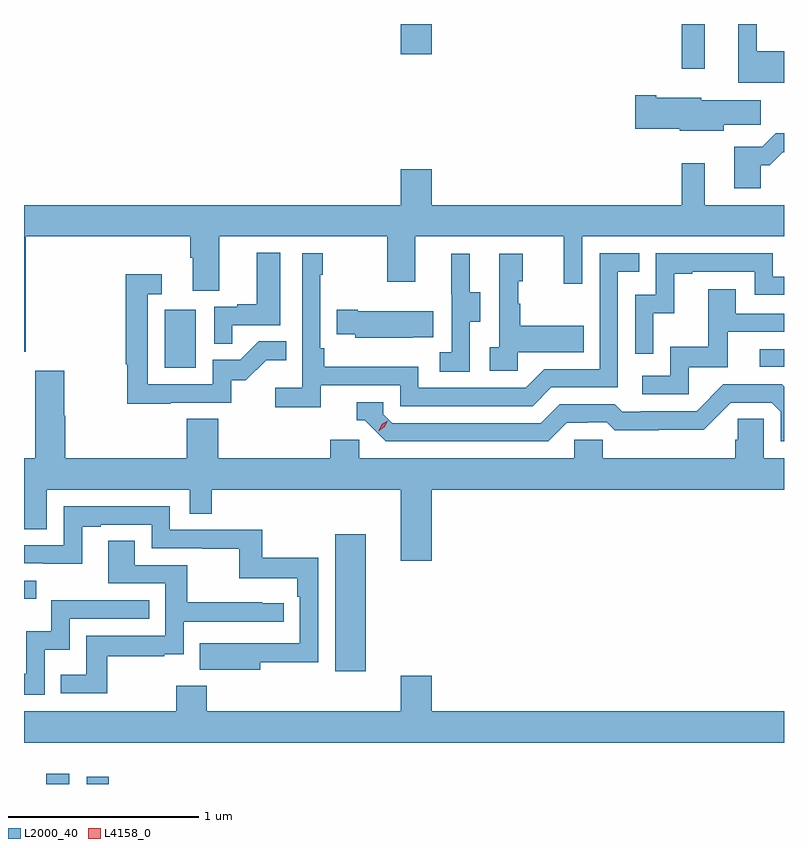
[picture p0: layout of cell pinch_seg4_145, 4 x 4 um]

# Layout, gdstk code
import gdstk
lib = gdstk.Library(unit=1e-6, precision=1e-09)
def R(c, l, rs):  # rectangles x0, y0, x1, y1
    for r in rs: c.add(gdstk.rectangle(r[:2], r[2:], *l))
def P(c, l, *ps):  # polygons
    for p in ps: c.add(gdstk.Polygon(p, *l))
L2000_40 = (2000, 40)
L4158_0 = (4158, 0)

pinch_seg4_145 = lib.new_cell('pinch_seg4_145')
R(pinch_seg4_145, L2000_40, [(1134.17,805.926,1134.292,805.981), (1134.384,805.926,1134.5,805.963), (1135.691,806.52,1135.852,807.241), (1134.054,806.9,1134.118,806.997), (1134.794,808.116,1134.958,808.423), (1137.927,808.122,1138.054,808.215), (1137.516,809.691,1137.637,809.926), (1136.036,809.766,1136.2,809.926)])
P(pinch_seg4_145, L2000_40, [(1138.054,809.782),(1137.91,809.782),(1137.91,809.926),(1137.812,809.926),(1137.812,809.618),(1138.054,809.618)],
  [(1137.736,809.395),(1137.931,809.395),(1137.931,809.524),(1137.618,809.524),(1137.618,809.539),(1137.382,809.539),(1137.382,809.552),(1137.27,809.552),(1137.27,809.374),(1137.504,809.374),(1137.504,809.363),(1137.736,809.363)],
  [(1137.931,809.183),(1137.98,809.183),(1138.047,809.25),(1138.054,809.25),(1138.054,809.351),(1138.01,809.351),(1137.94,809.281),(1137.791,809.281),(1137.791,809.061),(1137.931,809.061)],
  [(1134.064,808.808),(1134.929,808.808),(1134.929,808.696),(1134.941,808.696),(1134.941,808.522),(1135.081,808.522),(1135.081,808.808),(1135.966,808.808),(1135.966,808.569),(1136.113,808.569),(1136.113,808.808),(1136.894,808.808),(1136.894,808.56),(1136.991,808.56),(1136.991,808.808),(1138.054,808.808),(1138.054,808.972),(1137.637,808.972),(1137.637,809.194),(1137.516,809.194),(1137.516,808.972),(1136.2,808.972),(1136.2,809.161),(1136.036,809.161),(1136.036,808.972),(1134.054,808.972),(1134.054,808.202),(1134.064,808.202)],
  [(1135.151,808.341),(1135.402,808.341),(1135.402,808.723),(1135.28,808.723),(1135.28,808.45),(1135.177,808.45),(1135.177,808.437),(1135.056,808.437),(1135.056,808.243),(1135.151,808.243)],
  [(1135.616,808.026),(1136.034,808.026),(1136.034,807.915),(1136.731,807.915),(1136.83,808.014),(1137.18,808.014),(1137.18,808.623),(1137.293,808.623),(1137.293,808.719),(1137.084,808.719),(1137.084,808.11),(1136.793,808.11),(1136.694,808.011),(1136.13,808.011),(1136.13,808.123),(1135.634,808.123),(1135.634,808.219),(1135.614,808.219),(1135.614,808.607),(1135.627,808.607),(1135.627,808.72),(1135.518,808.72),(1135.518,808.012),(1135.377,808.012),(1135.377,807.91),(1135.616,807.91)],
  [(1137.366,808.403),(1137.476,808.403),(1137.476,808.611),(1137.571,808.611),(1137.571,808.623),(1137.9,808.623),(1137.9,808.5),(1138.054,808.5),(1138.054,808.596),(1137.996,808.596),(1137.996,808.719),(1137.378,808.719),(1137.378,808.5),(1137.27,808.5),(1137.27,808.191),(1137.366,808.191)],
  [(1136.652,808.199),(1136.999,808.199),(1136.999,808.339),(1136.665,808.339),(1136.665,808.454),(1136.655,808.454),(1136.655,808.572),(1136.68,808.572),(1136.68,808.717),(1136.556,808.717),(1136.556,808.226),(1136.505,808.226),(1136.505,808.101),(1136.652,808.101)],
  [(1136.4,808.36),(1136.455,808.36),(1136.455,808.515),(1136.401,808.515),(1136.401,808.717),(1136.303,808.717),(1136.303,808.503),(1136.304,808.503),(1136.304,808.199),(1136.241,808.199),(1136.241,808.096),(1136.4,808.096)],
  [(1134.827,807.933),(1135.146,807.933),(1135.146,808.05),(1135.222,808.05),(1135.329,808.157),(1135.433,808.157),(1135.433,808.256),(1135.29,808.256),(1135.192,808.158),(1135.047,808.158),(1135.047,808.029),(1134.705,808.029),(1134.705,808.503),(1134.778,808.503),(1134.778,808.609),(1134.589,808.609),(1134.589,808.136),(1134.597,808.136),(1134.597,807.928),(1134.827,807.928)],
  [(1137.552,808.119),(1137.757,808.119),(1137.757,808.305),(1138.054,808.305),(1138.054,808.401),(1137.799,808.401),(1137.799,808.531),(1137.655,808.531),(1137.655,808.228),(1137.456,808.228),(1137.456,808.074),(1137.309,808.074),(1137.309,807.978),(1137.552,807.978)],
  [(1136.099,808.277),(1136.207,808.277),(1136.207,808.414),(1135.81,808.414),(1135.81,808.422),(1135.699,808.422),(1135.699,808.292),(1135.797,808.292),(1135.797,808.274),(1136.099,808.274)],
  [(1136.2,807.476),(1138.054,807.476),(1138.054,807.64),(1137.948,807.64),(1137.948,807.848),(1137.811,807.848),(1137.811,807.738),(1137.797,807.738),(1137.797,807.64),(1137.099,807.64),(1137.099,807.738),(1136.949,807.738),(1136.949,807.64),(1135.818,807.64),(1135.818,807.738),(1135.667,807.738),(1135.667,807.64),(1135.076,807.64),(1135.076,807.848),(1134.911,807.848),(1134.911,807.64),(1134.272,807.64),(1134.272,807.863),(1134.267,807.863),(1134.267,808.102),(1134.112,808.102),(1134.112,807.64),(1134.054,807.64),(1134.054,807.268),(1134.175,807.268),(1134.175,807.476),(1134.927,807.476),(1134.927,807.349),(1135.043,807.349),(1135.043,807.476),(1136.036,807.476),(1136.036,807.102),(1136.2,807.102)],
  [(1136.911,807.828),(1137.018,807.828),(1137.018,807.831),(1137.121,807.831),(1137.163,807.789),(1137.396,807.789),(1137.396,807.791),(1137.632,807.791),(1137.774,807.933),(1137.99,807.933),(1138.038,807.885),(1138.038,807.729),(1138.054,807.729),(1138.054,808.016),(1138.041,808.029),(1137.735,808.029),(1137.594,807.888),(1137.301,807.888),(1137.301,807.885),(1137.202,807.885),(1137.163,807.924),(1136.874,807.924),(1136.775,807.825),(1135.992,807.825),(1135.944,807.873),(1135.944,807.936),(1135.805,807.936),(1135.805,807.84),(1135.848,807.84),(1135.959,807.729),(1136.812,807.729)],
  [(1135.297,806.566),(1135.602,806.566),(1135.602,807.118),(1135.309,807.118),(1135.309,807.264),(1134.822,807.264),(1134.822,807.387),(1134.264,807.387),(1134.264,807.183),(1134.054,807.183),(1134.054,807.087),(1134.156,807.087),(1134.156,807.086),(1134.361,807.086),(1134.361,807.279),(1134.457,807.279),(1134.457,807.291),(1134.726,807.291),(1134.726,807.168),(1134.991,807.168),(1134.991,807.163),(1135.188,807.163),(1135.188,807.008),(1135.493,807.008),(1135.493,806.912),(1135.506,806.912),(1135.506,806.667),(1135.193,806.667),(1135.193,806.668),(1134.979,806.668),(1134.979,806.528),(1135.297,806.528)],
  [(1134.493,806.598),(1134.791,806.598),(1134.791,806.609),(1134.894,806.609),(1134.894,806.781),(1135.42,806.781),(1135.42,806.877),(1135.307,806.877),(1135.307,806.882),(1134.914,806.882),(1134.914,807.078),(1134.637,807.078),(1134.637,807.206),(1134.497,807.206),(1134.497,806.982),(1134.798,806.982),(1134.798,806.706),(1134.382,806.706),(1134.382,806.5),(1134.247,806.5),(1134.247,806.403),(1134.493,806.403)],
  [(1134.162,806.633),(1134.294,806.633),(1134.294,806.796),(1134.713,806.796),(1134.713,806.892),(1134.198,806.892),(1134.198,806.731),(1134.065,806.731),(1134.065,806.506),(1134.054,806.506),(1134.054,806.397),(1134.162,806.397)],
  [(1138.054,806.308),(1136.2,806.308),(1136.2,806.497),(1136.036,806.497),(1136.036,806.308),(1135.016,806.308),(1135.016,806.443),(1134.856,806.443),(1134.856,806.308),(1134.054,806.308),(1134.054,806.144),(1138.054,806.144)])
P(pinch_seg4_145, L4158_0, [(1135.922,807.786),(1135.922,807.786),(1135.938,807.819),(1135.968,807.839),(1135.968,807.839),(1135.968,807.839),(1135.953,807.806),(1135.923,807.786)])

lib.write_gds('pinch_seg4_145.gds')
